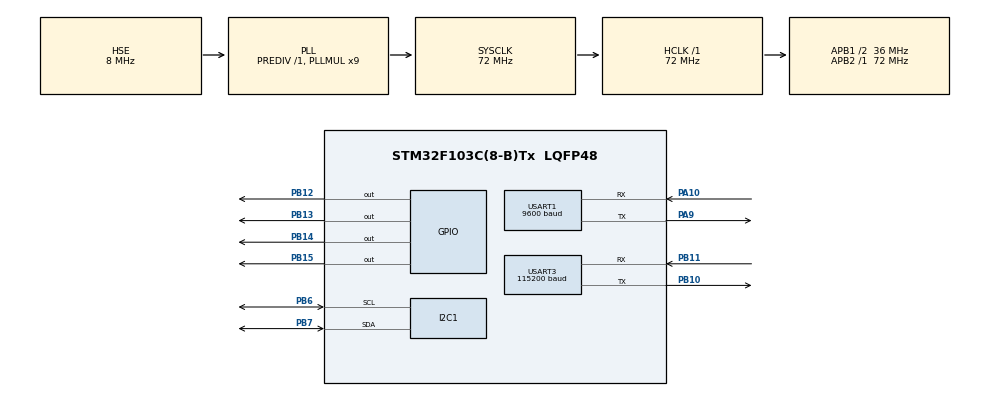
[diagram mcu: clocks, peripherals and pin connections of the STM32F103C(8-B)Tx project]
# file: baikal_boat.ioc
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I2C1.I2C_Mode=I2C_Standard
Mcu.Family=STM32F1
Mcu.Name=STM32F103C(8-B)Tx
Mcu.Package=LQFP48
NVIC.PriorityGroup=NVIC_PRIORITYGROUP_4
NVIC.TIM3_IRQn=true\:3\:0\:true\:false\:true\:true\:true\:true
NVIC.USART1_IRQn=true\:2\:0\:true\:false\:true\:true\:true\:true
PA10.Mode=Asynchronous
PA10.Signal=USART1_RX
PA9.Mode=Asynchronous
PA9.Signal=USART1_TX
PB10.Mode=Asynchronous
PB10.Signal=USART3_TX
PB11.Mode=Asynchronous
PB11.Signal=USART3_RX
PB12.GPIO_ModeDefaultOutputPP=GPIO_MODE_OUTPUT_OD
PB12.GPIO_PuPd=GPIO_NOPULL
PB12.Signal=GPIO_Output
PB13.GPIO_ModeDefaultOutputPP=GPIO_MODE_OUTPUT_OD
PB13.GPIO_PuPd=GPIO_NOPULL
PB13.Signal=GPIO_Output
PB14.GPIO_ModeDefaultOutputPP=GPIO_MODE_OUTPUT_OD
PB14.GPIO_PuPd=GPIO_NOPULL
PB14.Signal=GPIO_Output
PB15.GPIO_ModeDefaultOutputPP=GPIO_MODE_OUTPUT_OD
PB15.GPIO_PuPd=GPIO_NOPULL
PB15.Signal=GPIO_Output
PB6.Mode=I2C
PB6.Signal=I2C1_SCL
PB7.Mode=I2C
PB7.Signal=I2C1_SDA
PD0-OSC_IN.Mode=HSE-External-Oscillator
PD0-OSC_IN.Signal=RCC_OSC_IN
PD1-OSC_OUT.Mode=HSE-External-Oscillator
PD1-OSC_OUT.Signal=RCC_OSC_OUT
ProjectManager.HeapSize=0x200
ProjectManager.StackSize=0x400
ProjectManager.TargetToolchain=STM32CubeIDE
RCC.AHBFreq_Value=72000000
RCC.APB1CLKDivider=RCC_HCLK_DIV2
RCC.APB1Freq_Value=36000000
RCC.APB1TimFreq_Value=72000000
RCC.APB2Freq_Value=72000000
RCC.APB2TimFreq_Value=72000000
RCC.HCLKFreq_Value=72000000
RCC.PLLMUL=RCC_PLL_MUL9
RCC.PLLSourceVirtual=RCC_PLLSOURCE_HSE
RCC.SYSCLKFreq_VALUE=72000000
RCC.SYSCLKSource=RCC_SYSCLKSOURCE_PLLCLK
RCC.USBFreq_Value=72000000
TIM3.Period=20000
TIM3.Prescaler=719
TIM4.Prescaler=71
USART1.BaudRate=9600
USART1.VirtualMode=VM_ASYNC
USART3.BaudRate=115200
USART3.VirtualMode=VM_ASYNC
VP_TIM3_VS_ClockSourceINT.Mode=Internal
VP_TIM4_VS_ClockSourceINT.Mode=Internal
board=custom

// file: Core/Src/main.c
/* USER CODE BEGIN Header */
/**
  ******************************************************************************
  * @file           : main.c
  * @brief          : Main program body
  ******************************************************************************
  * @attention
  *
  * Copyright (c) 2023 STMicroelectronics.
  * All rights reserved.
  *
  * This software is licensed under terms that can be found in the LICENSE file
  * in the root directory of this software component.
  * If no LICENSE file comes with this software, it is provided AS-IS.
  *
  ******************************************************************************
  */
/* USER CODE END Header */
#include "main.h"
#include "i2c.h"
#include "tim.h"
#include "usart.h"
#include "gpio.h"

/* USER CODE BEGIN Includes */
#include "gps.h"
#include "BMP085.h"
#include "HMC5883L.h"
#include "ds18b20.h"
#include "mpu6050.h"
#include <stdio.h>

/* USER CODE END Includes */

/* USER CODE BEGIN PV */
      float t, p, a;
      int16_t x;
      int16_t y;
      int16_t z;
      uint16_t raw_temper;
      uint16_t bmp180_error;
      uint16_t hmc5883l_error;
      int16_t flag_uart_busy;
      double temper[4];
      char sign;
      uint8_t Data[8];
      char paket[500];
      char control_data[100];
      MPU6050_t MPU6050;
      int16_t pitch_test;
      int16_t roll_test;

/* USER CODE END PV */

void SystemClock_Config(void);

/* USER CODE BEGIN 0 */
void HAL_UART_RxCpltCallback(UART_HandleTypeDef *huart)
{
	if(huart == &huart1){
	GPS_UART_CallBack(GPS.flag_uart_busy);
	}
}

void HAL_TIM_PeriodElapsedCallback(TIM_HandleTypeDef *htim)
{

	if(htim->Instance == TIM3)
	{
		 MPU6050_Read_All(&hi2c1, &MPU6050);
		if(GPS.flag_uart_busy == 0){
			if(HMC5883L_testConnection()){
				hmc5883l_error = 0;
				HMC5883L_getHeading (&x,&y,&z);
			}
			else{
				hmc5883l_error = 1;
				x = 10000;
				y = 10000;
				z = 10000;
			}
			pitch_test = (int)((float) MPU6050.KalmanAngleY * 100);
			roll_test =	(int)((float) MPU6050.KalmanAngleX * 100);
			HAL_UART_Transmit(&huart3, (uint8_t*)paket, sprintf(paket, "X = %d, Y = %d, Z = %d, Pitch = %d, Roll = %d\r\n", x, y, z, pitch_test, roll_test), 1000);
			HMC5883L_initialize();
		}
	}

}
/* USER CODE END 0 */

int main(void)
{

  /* MCU Configuration--------------------------------------------------------*/

  /* Reset of all peripherals, Initializes the Flash interface and the Systick. */
  HAL_Init();

  /* Configure the system clock */
  SystemClock_Config();

  /* Initialize all configured peripherals */
  MX_GPIO_Init();
  MX_I2C1_Init();
  MX_USART1_UART_Init();
  MX_TIM4_Init();
  MX_TIM3_Init();
  MX_USART3_UART_Init();
  /* USER CODE BEGIN 2 */
  I2Cdev_init(&hi2c1);
  GPS_Init();
  HAL_TIM_Base_Start(&htim4);
  HAL_TIM_Base_Start_IT(&htim3);
  htim3.Init.Period = 20000;
  HMC5883L_initialize();
  while (MPU6050_Init(&hi2c1) == 1);
  /* USER CODE END 2 */

  /* Infinite loop */
  /* USER CODE BEGIN WHILE */
  while (1)
  {

	  for(int j = 1; j <= 4; j++){
		  if (init_ds18b20(j)){
			  HAL_NVIC_DisableIRQ(TIM3_IRQn);
			  HAL_NVIC_DisableIRQ(USART1_IRQn);
			  measure_cmd_ds18b20();
			  HAL_NVIC_EnableIRQ(USART1_IRQn);
			  HAL_NVIC_EnableIRQ(TIM3_IRQn);
			  HAL_Delay(800);
			  HAL_NVIC_DisableIRQ(USART1_IRQn);
			  HAL_NVIC_DisableIRQ(TIM3_IRQn);
			  read_stratcpad_ds18b20(Data);
			  raw_temper = ((uint16_t)Data[1]<<8)|Data[0];
			  if(get_sign_ds18b20(raw_temper)) sign ='-';
			  else sign='+';
			  temper[j-1] = ds18b20_Convert(raw_temper);
		  }
		  else temper[j-1] = 10000;
		  HAL_NVIC_EnableIRQ(USART1_IRQn);
		  HAL_NVIC_EnableIRQ(TIM3_IRQn);
		}

		  BMP085_initialize();
		  if(BMP085_testConnection()){
			  bmp180_error = 0;
			  BMP085_setControl(BMP085_MODE_TEMPERATURE);
			  HAL_Delay(BMP085_getMeasureDelayMilliseconds(BMP085_MODE_TEMPERATURE));
			  t = BMP085_getTemperatureC();
			  BMP085_setControl(BMP085_MODE_PRESSURE_3);
			  HAL_Delay(BMP085_getMeasureDelayMilliseconds(BMP085_MODE_PRESSURE_3));
			  p = BMP085_getPressure();
			  a = BMP085_getAltitude(p, 101325);
		  }
		  else{
			  bmp180_error = 1;
			  t = 10000;
			  p = 10000;
			  a = 10000;
		  }
		  GPS.flag_uart_busy = 1;
		  HAL_UART_Transmit(&huart3, (uint8_t*)paket, sprintf(paket, "Press = %.2f, Temp = %.2f, Alt = %.2f, T1 = %.2f, T2 = %.2f, T3 = %.2f, T4 = %.2f \r\n", p, t, a, temper[0], temper[1], temper[2], temper[3]), 1000);

		  GPS.flag_uart_busy = 0;

    /* USER CODE END WHILE */

  }
}

void SystemClock_Config(void)
{
  RCC_OscInitTypeDef RCC_OscInitStruct = {0};
  RCC_ClkInitTypeDef RCC_ClkInitStruct = {0};

  /** Initializes the RCC Oscillators according to the specified parameters
  * in the RCC_OscInitTypeDef structure.
  */
  RCC_OscInitStruct.OscillatorType = RCC_OSCILLATORTYPE_HSE;
  RCC_OscInitStruct.HSEState = RCC_HSE_ON;
  RCC_OscInitStruct.HSEPredivValue = RCC_HSE_PREDIV_DIV1;
  RCC_OscInitStruct.HSIState = RCC_HSI_ON;
  RCC_OscInitStruct.PLL.PLLState = RCC_PLL_ON;
  RCC_OscInitStruct.PLL.PLLSource = RCC_PLLSOURCE_HSE;
  RCC_OscInitStruct.PLL.PLLMUL = RCC_PLL_MUL9;
  if (HAL_RCC_OscConfig(&RCC_OscInitStruct) != HAL_OK)
  {
    Error_Handler();
  }

  /** Initializes the CPU, AHB and APB buses clocks
  */
  RCC_ClkInitStruct.ClockType = RCC_CLOCKTYPE_HCLK|RCC_CLOCKTYPE_SYSCLK
                              |RCC_CLOCKTYPE_PCLK1|RCC_CLOCKTYPE_PCLK2;
  RCC_ClkInitStruct.SYSCLKSource = RCC_SYSCLKSOURCE_PLLCLK;
  RCC_ClkInitStruct.AHBCLKDivider = RCC_SYSCLK_DIV1;
  RCC_ClkInitStruct.APB1CLKDivider = RCC_HCLK_DIV2;
  RCC_ClkInitStruct.APB2CLKDivider = RCC_HCLK_DIV1;

  if (HAL_RCC_ClockConfig(&RCC_ClkInitStruct, FLASH_LATENCY_2) != HAL_OK)
  {
    Error_Handler();
  }
}

void Error_Handler(void)
{
  __disable_irq();
  while (1)
  {
  }
}
